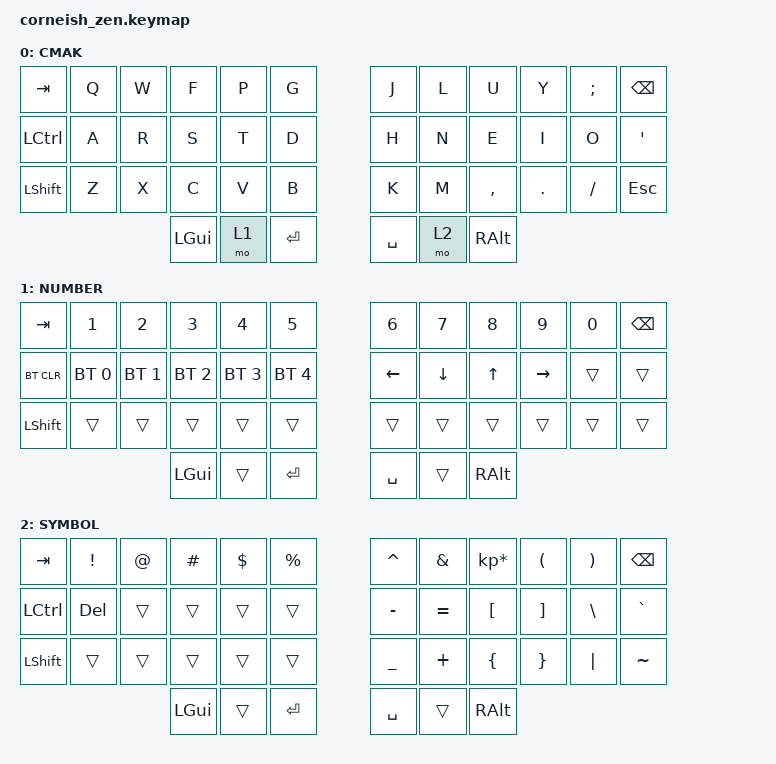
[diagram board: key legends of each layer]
#include <behaviors.dtsi>
#include <dt-bindings/zmk/keys.h>
#include <dt-bindings/zmk/bt.h>

/ {
  chosen {
    zmk,matrix_transform = &default_transform;
    //zmk,matrix_transform = &five_column_transform;
  };
};

/ {
        keymap {
                compatible = "zmk,keymap";

                default_layer {
                        label = "CMAK";
// -----------------------------------------------------------------------------------------
// |  TAB |  Q  |  W  |  F  |  P  |  G  |   |  J  |  L   |  U  |  Y  |  ;  | BKSP |
// | CTRL |  A  |  R  |  S  |  T  |  D  |   |  H  |  N   |  E  |  I  |  O  |  '   |
// | SHFT |  Z  |  X  |  C  |  V  |  B  |   |  K  |  M   |  ,  |  .  |  /  | ESC  |
//                    | GUI | LWR | ENT |   | SPC | RSE  | ALT |
                        bindings = <
   &kp TAB   &kp Q &kp W &kp F &kp P &kp G   &kp J &kp L  &kp U     &kp Y   &kp SEMI &kp BSPC
   &kp LCTRL &kp A &kp R &kp S &kp T &kp D   &kp H &kp N  &kp E     &kp I   &kp O    &kp SQT
   &kp LSHFT &kp Z &kp X &kp C &kp V &kp B   &kp K &kp M  &kp COMMA &kp DOT &kp FSLH &kp ESC
                  &kp LGUI &mo 1 &kp RET     &kp SPACE &mo 2 &kp RALT
                        >;
                };
                lower_layer {
                        label = "NUMBER";
// -----------------------------------------------------------------------------------------
// |  TAB |  1  |  2  |  3  |  4  |  5  |   |  6  |  7  |  8  |  9  |  0  | BKSP |
// | BTCLR| BT1 | BT2 | BT3 | BT4 | BT5 |   | LFT | DWN |  UP | RGT |     |      |
// | SHFT |     |     |     |     |     |   |     |     |     |     |     |      |
//                    | GUI |     | ENT |   | SPC |     | ALT |
                        bindings = <
   &kp TAB    &kp N1       &kp N2       &kp N3       &kp N4       &kp N5         &kp N6   &kp N7   &kp N8 &kp N9    &kp N0 &kp BSPC
   &bt BT_CLR &bt BT_SEL 0 &bt BT_SEL 1 &bt BT_SEL 2 &bt BT_SEL 3 &bt BT_SEL 4   &kp LEFT &kp DOWN &kp UP &kp RIGHT &trans &trans
   &kp LSHFT  &trans       &trans       &trans       &trans       &trans         &trans   &trans   &trans &trans    &trans &trans
                          	        &kp LGUI     &trans       &kp RET        &kp SPACE  &trans   &kp RALT
                        >;
                };

                raise_layer {
                        label = "SYMBOL";
// -----------------------------------------------------------------------------------------
// |  TAB |  !  |  @  |  #  |  $  |  %  |   |  ^  |  &  |  *  |  (  |  )  | BKSP |
// | CTRL | DEL |     |     |     |     |   |  -  |  =  |  [  |  ]  |  \  |  `   |
// | SHFT |     |     |     |     |     |   |  _  |  +  |  {  |  }  | "|" |  ~   |
//                    | GUI |     | ENT |   | SPC |     | ALT |
                        bindings = <
   &kp  TAB  &kp EXCL &kp AT &kp HASH &kp DLLR &kp PRCNT   &kp CARET &kp AMPS  &kp KP_MULTIPLY &kp LPAR &kp RPAR &kp BSPC
   &kp LCTRL &kp DEL  &trans &trans   &trans   &trans      &kp MINUS &kp EQUAL &kp LBKT        &kp RBKT &kp BSLH &kp GRAVE
   &kp LSHFT &trans   &trans &trans   &trans   &trans      &kp UNDER &kp PLUS  &kp LBRC        &kp RBRC &kp PIPE &kp TILDE
                    	     &kp LGUI &trans   &kp RET     &kp SPACE &trans    &kp RALT
                        >;
                };
        };
};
